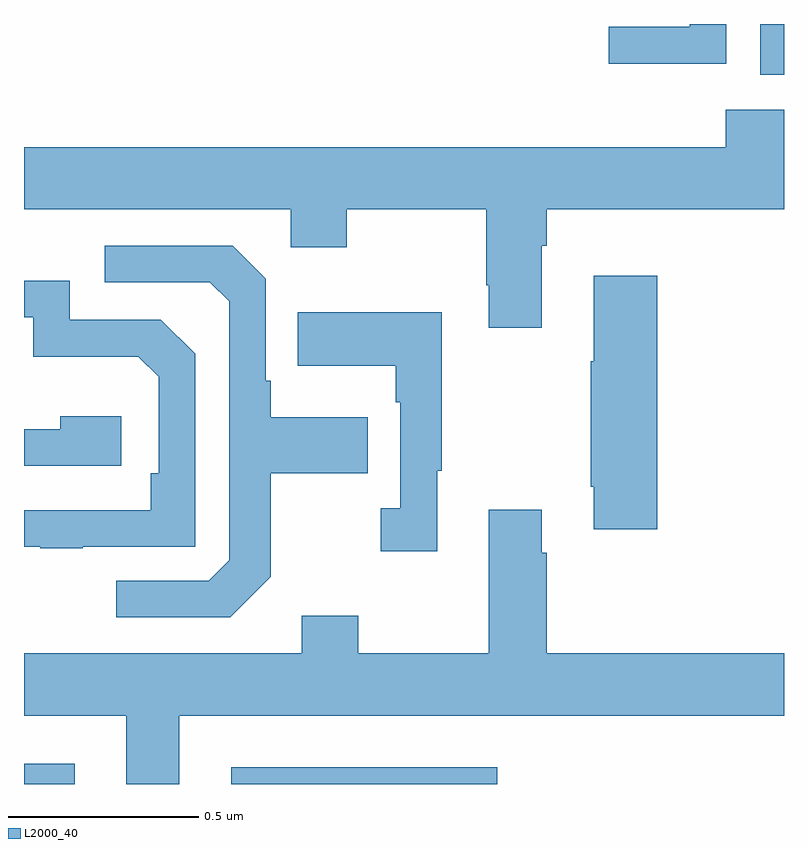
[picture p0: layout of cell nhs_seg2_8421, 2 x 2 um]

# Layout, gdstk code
import gdstk
lib = gdstk.Library(unit=1e-6, precision=1e-09)
def R(c, l, rs):  # rectangles x0, y0, x1, y1
    for r in rs: c.add(gdstk.rectangle(r[:2], r[2:], *l))
def P(c, l, *ps):  # polygons
    for p in ps: c.add(gdstk.Polygon(p, *l))
L2000_40 = (2000, 40)

nhs_seg2_8421 = lib.new_cell('nhs_seg2_8421')
R(nhs_seg2_8421, L2000_40, [(216,636.8,216.133,636.853), (216.545,636.8,217.246,636.844), (217.937,638.666,218,638.8)])
P(nhs_seg2_8421, L2000_40, [(217.848,638.8),(217.752,638.8),(217.752,638.793),(217.539,638.793),(217.539,638.695),(217.848,638.695)],
  [(217.363,638.216),(217.376,638.216),(217.376,638.312),(218,638.312),(218,638.575),(217.847,638.575),(217.847,638.476),(216,638.476),(216,638.312),(216.702,638.312),(216.702,638.213),(216.849,638.213),(216.849,638.312),(217.216,638.312),(217.216,638.113),(217.223,638.113),(217.223,638.001),(217.363,638.001)],
  [(216.649,637.345),(216.649,637.618),(216.905,637.618),(216.905,637.765),(216.649,637.765),(216.649,637.861),(216.636,637.861),(216.636,638.13),(216.549,638.217),(216.213,638.217),(216.213,638.121),(216.489,638.121),(216.54,638.07),(216.54,637.389),(216.486,637.335),(216.243,637.335),(216.243,637.239),(216.543,637.239)],
  [(217.667,638.137),(217.499,638.137),(217.499,637.913),(217.492,637.913),(217.492,637.582),(217.499,637.582),(217.499,637.47),(217.667,637.47)],
  [(216.155,637.425),(216.45,637.425),(216.45,637.932),(216.36,638.022),(216.12,638.022),(216.12,638.124),(216,638.124),(216,638.028),(216.024,638.028),(216.024,637.925),(216.301,637.925),(216.354,637.872),(216.354,637.618),(216.334,637.618),(216.334,637.521),(216,637.521),(216,637.425),(216.043,637.425),(216.043,637.42),(216.155,637.42)],
  [(217.087,637.625),(217.099,637.625),(217.099,638.041),(216.721,638.041),(216.721,637.901),(216.978,637.901),(216.978,637.805),(216.99,637.805),(216.99,637.526),(216.939,637.526),(216.939,637.413),(217.087,637.413)],
  [(216.256,637.768),(216.095,637.768),(216.095,637.734),(216,637.734),(216,637.638),(216.256,637.638)],
  [(216.409,636.98),(218,636.98),(218,637.144),(217.376,637.144),(217.376,637.409),(217.363,637.409),(217.363,637.522),(217.223,637.522),(217.223,637.144),(216.879,637.144),(216.879,637.243),(216.731,637.243),(216.731,637.144),(216,637.144),(216,636.98),(216.269,636.98),(216.269,636.8),(216.409,636.8)])

lib.write_gds('nhs_seg2_8421.gds')
